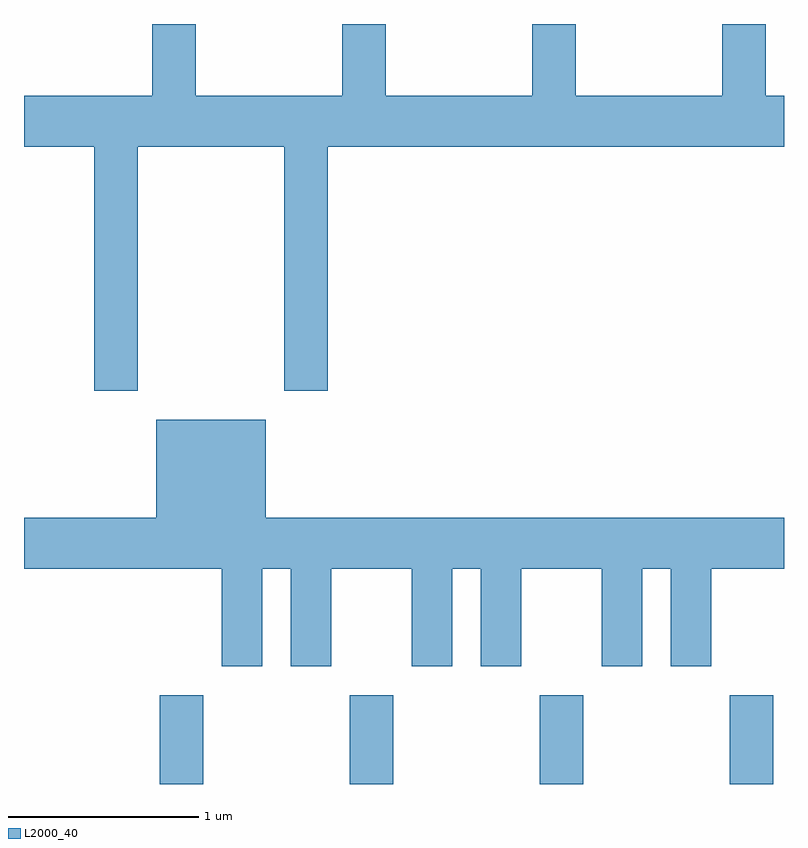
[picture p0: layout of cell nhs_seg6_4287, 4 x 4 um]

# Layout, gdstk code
import gdstk
lib = gdstk.Library(unit=1e-6, precision=1e-09)
def R(c, l, rs):  # rectangles x0, y0, x1, y1
    for r in rs: c.add(gdstk.rectangle(r[:2], r[2:], *l))
def A(c, l, x, y, w, h, nx, ny, dx, dy):  # array of equal rectangles
    R(c, l, [(x+i*dx, y+j*dy, x+i*dx+w, y+j*dy+h) for i in range(nx) for j in range(ny)])
def P(c, l, *ps):  # polygons
    for p in ps: c.add(gdstk.Polygon(p, *l))
L2000_40 = (2000, 40)

nhs_seg6_4287 = lib.new_cell('nhs_seg6_4287')
A(nhs_seg6_4287, L2000_40, 316.326, 1622.162, 0.228, 0.467, 4, 1, 1, 0)
P(nhs_seg6_4287, L2000_40, [(315.611,1625.516),(315.981,1625.516),(315.981,1624.231),(316.209,1624.231),(316.209,1625.516),(316.981,1625.516),(316.981,1624.231),(317.209,1624.231),(317.209,1625.516),(319.611,1625.516),(319.611,1625.784),(319.514,1625.784),(319.514,1626.162),(319.286,1626.162),(319.286,1625.784),(318.514,1625.784),(318.514,1626.162),(318.286,1626.162),(318.286,1625.784),(317.514,1625.784),(317.514,1626.162),(317.286,1626.162),(317.286,1625.784),(316.514,1625.784),(316.514,1626.162),(316.286,1626.162),(316.286,1625.784),(315.611,1625.784)],
  [(316.884,1624.079),(316.306,1624.079),(316.306,1623.564),(315.611,1623.564),(315.611,1623.296),(316.651,1623.296),(316.651,1622.781),(316.864,1622.781),(316.864,1623.296),(317.016,1623.296),(317.016,1622.781),(317.229,1622.781),(317.229,1623.296),(317.651,1623.296),(317.651,1622.781),(317.864,1622.781),(317.864,1623.296),(318.016,1623.296),(318.016,1622.781),(318.229,1622.781),(318.229,1623.296),(318.651,1623.296),(318.651,1622.781),(318.864,1622.781),(318.864,1623.296),(319.016,1623.296),(319.016,1622.781),(319.229,1622.781),(319.229,1623.296),(319.611,1623.296),(319.611,1623.564),(316.884,1623.564)])

lib.write_gds('nhs_seg6_4287.gds')
